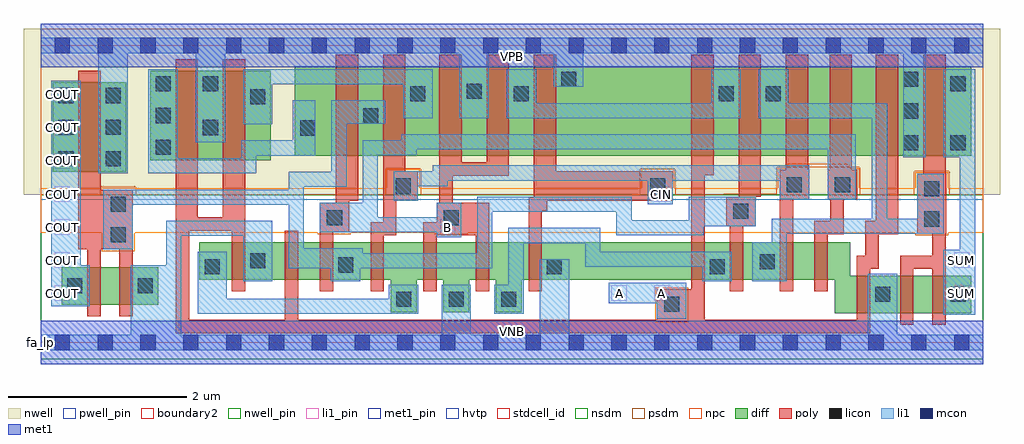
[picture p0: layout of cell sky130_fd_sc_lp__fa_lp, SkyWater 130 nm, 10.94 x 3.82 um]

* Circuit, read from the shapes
.subckt sky130_fd_sc_lp__fa_lp A B CIN COUT SUM VGND VNB VPB VPWR
XM1 n1 n2 COUT VNB sky130_fd_pr__nfet_01v8 w=0.42 l=0.15
XM2 VGND n2 n1 VNB sky130_fd_pr__nfet_01v8 w=0.42 l=0.15
XM3 VGND A n3 VNB sky130_fd_pr__nfet_01v8 w=0.42 l=0.15
XM4 n4 A VGND VNB sky130_fd_pr__nfet_01v8 w=0.42 l=0.15
XM5 n2 B n4 VNB sky130_fd_pr__nfet_01v8 w=0.42 l=0.15
XM6 n3 CIN n2 VNB sky130_fd_pr__nfet_01v8 w=0.42 l=0.15
XM7 VGND B n3 VNB sky130_fd_pr__nfet_01v8 w=0.42 l=0.15
XM8 n5 B VGND VNB sky130_fd_pr__nfet_01v8 w=0.42 l=0.15
XM9 VGND CIN n5 VNB sky130_fd_pr__nfet_01v8 w=0.42 l=0.15
XM10 n5 A VGND VNB sky130_fd_pr__nfet_01v8 w=0.42 l=0.15
XM11 n6 n2 n5 VNB sky130_fd_pr__nfet_01v8 w=0.42 l=0.15
XM12 n7 CIN n6 VNB sky130_fd_pr__nfet_01v8 w=0.42 l=0.15
XM13 n8 B n7 VNB sky130_fd_pr__nfet_01v8 w=0.42 l=0.15
XM14 VGND A n8 VNB sky130_fd_pr__nfet_01v8 w=0.42 l=0.15
XM15 n9 n6 VGND VNB sky130_fd_pr__nfet_01v8 w=0.42 l=0.15
XM16 SUM n6 n9 VNB sky130_fd_pr__nfet_01v8 w=0.42 l=0.15
XM17 VPWR n2 COUT VPB sky130_fd_pr__pfet_01v8_hvt w=1 l=0.25
XM18 VPWR A n10 VPB sky130_fd_pr__pfet_01v8_hvt w=1 l=0.25
XM19 n11 A VPWR VPB sky130_fd_pr__pfet_01v8_hvt w=1 l=0.25
XM20 n2 B n10 VPB sky130_fd_pr__pfet_01v8_hvt w=1 l=0.25
XM21 n11 CIN n2 VPB sky130_fd_pr__pfet_01v8_hvt w=1 l=0.25
XM22 VPWR B n11 VPB sky130_fd_pr__pfet_01v8_hvt w=1 l=0.25
XM23 n12 B VPWR VPB sky130_fd_pr__pfet_01v8_hvt w=1 l=0.25
XM24 VPWR CIN n12 VPB sky130_fd_pr__pfet_01v8_hvt w=1 l=0.25
XM25 n12 A VPWR VPB sky130_fd_pr__pfet_01v8_hvt w=1 l=0.25
XM26 n6 n2 n12 VPB sky130_fd_pr__pfet_01v8_hvt w=1 l=0.25
XM27 n13 CIN n6 VPB sky130_fd_pr__pfet_01v8_hvt w=1 l=0.25
XM28 n14 B n13 VPB sky130_fd_pr__pfet_01v8_hvt w=1 l=0.25
XM29 VPWR A n14 VPB sky130_fd_pr__pfet_01v8_hvt w=1 l=0.25
XM30 SUM n6 VPWR VPB sky130_fd_pr__pfet_01v8_hvt w=1 l=0.25
.ends

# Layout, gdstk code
import gdstk
lib = gdstk.Library(unit=1e-6, precision=1e-09)
def R(c, l, rs):  # rectangles x0, y0, x1, y1
    for r in rs: c.add(gdstk.rectangle(r[:2], r[2:], *l))
def A(c, l, x, y, w, h, nx, ny, dx, dy):  # array of equal rectangles
    R(c, l, [(x+i*dx, y+j*dy, x+i*dx+w, y+j*dy+h) for i in range(nx) for j in range(ny)])
def P(c, l, *ps):  # polygons
    for p in ps: c.add(gdstk.Polygon(p, *l))
nwell_pin = (64, 16)
nwell = (64, 20)
diff = (65, 20)
poly = (66, 20)
licon = (66, 44)
li1_pin = (67, 16)
li1 = (67, 20)
mcon = (67, 44)
met1_pin = (68, 16)
met1 = (68, 20)
hvtp = (78, 44)
stdcell_id = (81, 4)
nsdm = (93, 44)
psdm = (94, 20)
npc = (95, 20)
pwell_pin = (122, 16)
boundary2 = (236, 0)

sky130_fd_sc_lp__fa_lp = lib.new_cell('sky130_fd_sc_lp__fa_lp')
R(sky130_fd_sc_lp__fa_lp, nwell_pin, [(0,3.085,10.56,3.33)])
R(sky130_fd_sc_lp__fa_lp, nwell, [(-0.19,1.655,10.75,3.52)])
R(sky130_fd_sc_lp__fa_lp, diff, [(0.235,0.425,1.315,0.845), (0.135,1.915,0.955,2.915), (1.225,2.045,2.575,3.045), (2.845,2.095,10.425,3.095)])
P(sky130_fd_sc_lp__fa_lp, diff, [(10.425,0.75),(9.07,0.75),(9.07,1.125),(1.775,1.125),(1.775,0.705),(3.92,0.705),(3.92,0.34),(4.21,0.34),(4.21,0.705),(4.51,0.705),(4.51,0.34),(4.8,0.34),(4.8,0.705),(5.1,0.705),(5.1,0.34),(5.39,0.34),(5.39,0.705),(8.895,0.705),(8.895,0.33),(10.425,0.33)])
P(sky130_fd_sc_lp__fa_lp, poly, [(1.03,1.715),(0.67,1.715),(0.67,3.045),(0.42,3.045),(0.42,1.045),(0.52,1.045),(0.52,0.295),(0.67,0.295),(0.67,1.045),(0.88,1.045),(0.88,0.295),(1.03,0.295)],
  [(3.555,3.225),(3.305,3.225),(3.305,1.565),(3.125,1.565),(3.125,0.575),(3.275,0.575),(3.275,1.235),(3.455,1.235),(3.455,1.59),(3.555,1.59)],
  [(4.225,1.92),(4.085,1.92),(4.085,3.225),(3.835,3.225),(3.835,1.35),(3.695,1.35),(3.695,0.575),(3.845,0.575),(3.845,1.2),(3.985,1.2),(3.985,1.59),(4.225,1.59)],
  [(5.245,3.225),(4.995,3.225),(4.995,2.02),(4.715,2.02),(4.715,3.225),(4.465,3.225),(4.465,1.565),(4.435,1.565),(4.435,1.35),(4.285,1.35),(4.285,0.575),(4.435,0.575),(4.435,1.2),(4.875,1.2),(4.875,0.575),(5.025,0.575),(5.025,1.565),(4.615,1.565),(4.615,1.87),(5.245,1.87)],
  [(7.08,1.92),(5.775,1.92),(5.775,3.225),(5.525,3.225),(5.525,1.63),(5.465,1.63),(5.465,0.575),(5.615,0.575),(5.615,1.48),(5.675,1.48),(5.675,1.59),(7.08,1.59)],
  [(8.07,3.225),(7.82,3.225),(7.82,1.635),(7.68,1.635),(7.68,1.305),(7.72,1.305),(7.72,0.575),(7.87,0.575),(7.87,1.305),(8.01,1.305),(8.01,1.635),(8.07,1.635)],
  [(8.61,1.935),(8.6,1.935),(8.6,3.225),(8.35,3.225),(8.35,1.935),(8.28,1.935),(8.28,0.575),(8.43,0.575),(8.43,1.605),(8.61,1.605)],
  [(9.15,1.935),(9.09,1.935),(9.09,3.225),(8.84,3.225),(8.84,1.935),(8.82,1.935),(8.82,1.605),(8.85,1.605),(8.85,1.365),(8.67,1.365),(8.67,0.575),(8.82,0.575),(8.82,1.215),(9,1.215),(9,1.605),(9.15,1.605)],
  [(9.61,3.225),(9.36,3.225),(9.36,1.365),(9.24,1.365),(9.24,0.975),(9.145,0.975),(9.145,0.255),(7.44,0.255),(7.44,1.875),(7.54,1.875),(7.54,3.225),(7.29,3.225),(7.29,0.595),(6.905,0.595),(6.905,0.255),(2.885,0.255),(2.885,1.255),(2.735,1.255),(2.735,0.255),(1.66,0.255),(1.66,1.255),(2.14,1.255),(2.14,0.575),(2.29,0.575),(2.29,3.175),(2.04,3.175),(2.04,1.405),(1.76,1.405),(1.76,3.175),(1.51,3.175),(1.51,0.105),(9.295,0.105),(9.295,0.825),(9.39,0.825),(9.39,1.215),(9.61,1.215)],
  [(10.15,1.89),(10.14,1.89),(10.14,3.225),(9.89,3.225),(9.89,1.89),(9.82,1.89),(9.82,1.22),(9.99,1.22),(9.99,0.975),(9.63,0.975),(9.63,0.2),(9.78,0.2),(9.78,0.825),(9.99,0.825),(9.99,0.2),(10.14,0.2),(10.14,1.22),(10.15,1.22)])
A(sky130_fd_sc_lp__fa_lp, licon, 3.98, 0.4, 0.17, 0.17, 3, 1, 0.59, 0)
A(sky130_fd_sc_lp__fa_lp, licon, 0.195, 1.975, 0.17, 0.17, 1, 3, 0, 0.355)
A(sky130_fd_sc_lp__fa_lp, licon, 0.725, 1.975, 0.17, 0.17, 1, 3, 0, 0.355)
A(sky130_fd_sc_lp__fa_lp, licon, 1.285, 2.105, 0.17, 0.17, 1, 3, 0, 0.355)
A(sky130_fd_sc_lp__fa_lp, licon, 9.665, 2.155, 0.17, 0.17, 1, 3, 0, 0.355)
R(sky130_fd_sc_lp__fa_lp, licon, [(6.985,0.345,7.155,0.515), (9.35,0.455,9.52,0.625), (10.195,0.455,10.365,0.625), (0.295,0.55,0.465,0.72), (1.085,0.55,1.255,0.72), (1.835,0.765,2.005,0.935), (5.67,0.765,5.84,0.935), (7.495,0.765,7.665,0.935), (3.33,0.785,3.5,0.955), (8.055,0.82,8.225,0.99), (2.345,0.83,2.515,1), (0.78,1.125,0.95,1.295), (9.9,1.3,10.07,1.47), (3.205,1.315,3.375,1.485), (4.515,1.315,4.685,1.485), (7.76,1.385,7.93,1.555), (0.78,1.465,0.95,1.635), (9.9,1.64,10.07,1.81), (3.975,1.67,4.145,1.84), (6.83,1.67,7,1.84), (8.36,1.685,8.53,1.855), (8.9,1.685,9.07,1.855), (10.195,2.155,10.365,2.325), (2.905,2.32,3.075,2.49), (1.815,2.325,1.985,2.495), (3.61,2.455,3.78,2.625), (2.345,2.67,2.515,2.84), (4.14,2.705,4.31,2.875), (5.3,2.705,5.47,2.875), (7.595,2.705,7.765,2.875), (8.125,2.705,8.295,2.875), (4.77,2.73,4.94,2.9), (1.815,2.815,1.985,2.985), (10.195,2.815,10.365,2.985), (5.83,2.865,6,3.035)])
A(sky130_fd_sc_lp__fa_lp, li1_pin, 0.155, 0.47, 0.17, 0.17, 1, 7, 0, 0.37)
R(sky130_fd_sc_lp__fa_lp, li1_pin, [(6.395,0.47,6.565,0.64), (6.875,0.47,7.045,0.64), (10.235,0.47,10.405,0.64), (10.235,0.84,10.405,1.01), (4.475,1.21,4.645,1.38), (6.875,1.58,7.045,1.75)])
P(sky130_fd_sc_lp__fa_lp, li1, [(0.645,1.895),(0.645,3.245),(0,3.245),(0,3.415),(10.56,3.415),(10.56,3.245),(9.915,3.245),(9.915,2.075),(9.665,2.075),(9.665,3.245),(6.08,3.245),(6.08,2.865),(5.75,2.865),(5.75,3.245),(5.02,3.245),(5.02,2.515),(4.69,2.515),(4.69,3.245),(2.065,3.245),(2.065,2.245),(1.735,2.245),(1.735,3.245),(0.975,3.245),(0.975,1.895)],
  [(1.005,0.085),(1.005,0.865),(1.405,0.865),(1.405,1.365),(2.595,1.365),(2.595,0.685),(2.265,0.685),(2.265,1.195),(1.575,1.195),(1.575,0.085),(4.49,0.085),(4.49,0.65),(4.82,0.65),(4.82,0.085),(5.59,0.085),(5.59,0.935),(5.92,0.935),(5.92,0.085),(9.27,0.085),(9.27,0.77),(9.6,0.77),(9.6,0.085),(10.56,0.085),(10.56,-0.085),(0,-0.085),(0,0.085)],
  [(9.315,1.39),(9.315,2.515),(8.045,2.515),(8.045,3.065),(8.375,3.065),(8.375,2.685),(9.485,2.685),(9.485,1.39),(9.82,1.39),(9.82,1.89),(10.12,1.89),(10.12,1.22),(8.36,1.22),(8.36,0.685),(7.975,0.685),(7.975,1.125),(8.19,1.125),(8.19,1.39)],
  [(2.775,1.915),(3.255,1.915),(3.255,2.715),(3.86,2.715),(3.86,2.45),(3.425,2.45),(3.425,1.745),(2.945,1.745),(2.945,1.055),(3.605,1.055),(3.605,1),(4.89,1),(4.89,1.635),(6.62,1.635),(6.62,1.37),(7.26,1.37),(7.26,1.635),(8.01,1.635),(8.01,1.305),(7.43,1.305),(7.43,1.2),(6.45,1.2),(6.45,1.465),(5.06,1.465),(5.06,0.83),(3.58,0.83),(3.58,0.685),(3.25,0.685),(3.25,0.83),(2.775,0.83),(2.775,1.545),(1.03,1.545),(1.03,1.045),(0.7,1.045),(0.7,1.715),(2.775,1.715)],
  [(6.8,1.55),(6.8,1.815),(4.56,1.815),(4.56,1.75),(4.225,1.75),(4.225,1.59),(3.955,1.59),(3.955,1.92),(4.39,1.92),(4.39,1.985),(8.61,1.985),(8.61,1.605),(8.28,1.605),(8.28,1.815),(7.08,1.815),(7.08,1.55)],
  [(4.04,2.27),(4.04,2.335),(9.135,2.335),(9.135,1.605),(8.82,1.605),(8.82,2.165),(4.21,2.165),(4.21,2.1),(3.775,2.1),(3.775,1.405),(4.435,1.405),(4.435,1.565),(4.71,1.565),(4.71,1.18),(4.435,1.18),(4.435,1.235),(3.125,1.235),(3.125,1.565),(3.605,1.565),(3.605,2.27)],
  [(10.115,0.31),(10.115,1.04),(10.3,1.04),(10.3,2.075),(10.115,2.075),(10.115,3.065),(10.47,3.065),(10.47,0.31)],
  [(6.1,0.85),(6.1,1.115),(5.41,1.115),(5.41,0.32),(5.08,0.32),(5.08,0.65),(5.24,0.65),(5.24,1.285),(6.27,1.285),(6.27,1.02),(7.745,1.02),(7.745,0.685),(7.415,0.685),(7.415,0.85)],
  [(4.06,2.515),(4.06,2.895),(2.595,2.895),(2.595,2.445),(2.265,2.445),(2.265,3.065),(4.39,3.065),(4.39,2.515)],
  [(6.905,0.265),(6.905,0.44),(6.365,0.44),(6.365,0.67),(7.235,0.67),(7.235,0.265)],
  [(0.115,2.935),(0.445,2.935),(0.445,0.865),(0.545,0.865),(0.545,0.405),(0.115,0.405)],
  [(5.55,2.685),(7.515,2.685),(7.515,3.065),(7.845,3.065),(7.845,2.515),(5.22,2.515),(5.22,3.065),(5.55,3.065)],
  [(1.535,2.065),(2.245,2.065),(2.245,2.265),(2.825,2.265),(2.825,2.715),(3.075,2.715),(3.075,2.095),(2.415,2.095),(2.415,1.895),(1.205,1.895),(1.205,3.065),(1.535,3.065)],
  [(1.755,0.32),(1.755,1.015),(2.085,1.015),(2.085,0.49),(3.9,0.49),(3.9,0.65),(4.23,0.65),(4.23,0.32)])
A(sky130_fd_sc_lp__fa_lp, mcon, 0.155, -0.085, 0.17, 0.17, 22, 2, 0.48, 3.33)
R(sky130_fd_sc_lp__fa_lp, met1_pin, [(0,0,10.56,0.245), (0,3.085,10.56,3.33)])
R(sky130_fd_sc_lp__fa_lp, met1, [(0,-0.245,10.56,0.245), (0,3.085,10.56,3.575)])
R(sky130_fd_sc_lp__fa_lp, hvtp, [(0,1.6,10.56,3.33)])
R(sky130_fd_sc_lp__fa_lp, stdcell_id, [(0,0,10.56,3.33)])
R(sky130_fd_sc_lp__fa_lp, nsdm, [(0,-0.19,10.56,1.655)])
P(sky130_fd_sc_lp__fa_lp, psdm, [(10.56,3.52),(0,3.52),(0,1.655),(0.67,1.655),(0.67,1.745),(1.06,1.745),(1.06,1.655),(3.865,1.655),(3.865,1.95),(4.255,1.95),(4.255,1.655),(6.72,1.655),(6.72,1.95),(7.11,1.95),(7.11,1.655),(7.65,1.655),(7.65,1.665),(8.25,1.665),(8.25,1.965),(9.18,1.965),(9.18,1.655),(9.79,1.655),(9.79,1.92),(10.18,1.92),(10.18,1.655),(10.56,1.655)])
R(sky130_fd_sc_lp__fa_lp, npc, [(6.885,0.225,7.255,0.615)])
P(sky130_fd_sc_lp__fa_lp, npc, [(10.56,1.73),(10.17,1.73),(10.17,1.91),(9.8,1.91),(9.8,1.73),(9.17,1.73),(9.17,1.955),(9.065,1.955),(9.065,2.005),(8.365,2.005),(8.365,1.955),(8.26,1.955),(8.26,1.73),(7.1,1.73),(7.1,1.94),(6.73,1.94),(6.73,1.73),(4.245,1.73),(4.245,1.94),(3.875,1.94),(3.875,1.73),(1.05,1.73),(1.05,1.735),(0.68,1.735),(0.68,1.73),(0,1.73),(0,1.23),(0.68,1.23),(0.68,1.025),(1.05,1.025),(1.05,1.23),(3.105,1.23),(3.105,1.215),(3.475,1.215),(3.475,1.23),(4.415,1.23),(4.415,1.215),(4.785,1.215),(4.785,1.23),(9.8,1.23),(9.8,1.2),(10.17,1.2),(10.17,1.23),(10.56,1.23)])
R(sky130_fd_sc_lp__fa_lp, pwell_pin, [(0,0,10.56,0.245)])
R(sky130_fd_sc_lp__fa_lp, boundary2, [(0,0,10.56,3.33)])
sky130_fd_sc_lp__fa_lp.add(gdstk.Label('VNB', (5.28,0.123), layer=64, texttype=59))
sky130_fd_sc_lp__fa_lp.add(gdstk.Label('VPB', (5.28,3.208), layer=64, texttype=5))
sky130_fd_sc_lp__fa_lp.add(gdstk.Label('fa_lp', (0,0), layer=83, texttype=44))
sky130_fd_sc_lp__fa_lp.add(gdstk.Label('VPWR', (5.28,3.208), layer=68, texttype=5))
sky130_fd_sc_lp__fa_lp.add(gdstk.Label('VGND', (5.28,0.123), layer=68, texttype=5))
sky130_fd_sc_lp__fa_lp.add(gdstk.Label('CIN', (6.96,1.665), layer=67, texttype=5))
sky130_fd_sc_lp__fa_lp.add(gdstk.Label('B', (4.56,1.295), layer=67, texttype=5))
sky130_fd_sc_lp__fa_lp.add(gdstk.Label('A', (6.48,0.555), layer=67, texttype=5))
sky130_fd_sc_lp__fa_lp.add(gdstk.Label('A', (6.96,0.555), layer=67, texttype=5))
sky130_fd_sc_lp__fa_lp.add(gdstk.Label('SUM', (10.32,0.555), layer=67, texttype=5))
sky130_fd_sc_lp__fa_lp.add(gdstk.Label('SUM', (10.32,0.925), layer=67, texttype=5))
sky130_fd_sc_lp__fa_lp.add(gdstk.Label('COUT', (0.24,0.555), layer=67, texttype=5))
sky130_fd_sc_lp__fa_lp.add(gdstk.Label('COUT', (0.24,0.925), layer=67, texttype=5))
sky130_fd_sc_lp__fa_lp.add(gdstk.Label('COUT', (0.24,1.295), layer=67, texttype=5))
sky130_fd_sc_lp__fa_lp.add(gdstk.Label('COUT', (0.24,1.665), layer=67, texttype=5))
sky130_fd_sc_lp__fa_lp.add(gdstk.Label('COUT', (0.24,2.035), layer=67, texttype=5))
sky130_fd_sc_lp__fa_lp.add(gdstk.Label('COUT', (0.24,2.405), layer=67, texttype=5))
sky130_fd_sc_lp__fa_lp.add(gdstk.Label('COUT', (0.24,2.775), layer=67, texttype=5))

lib.write_gds('sky130_fd_sc_lp__fa_lp.gds')
